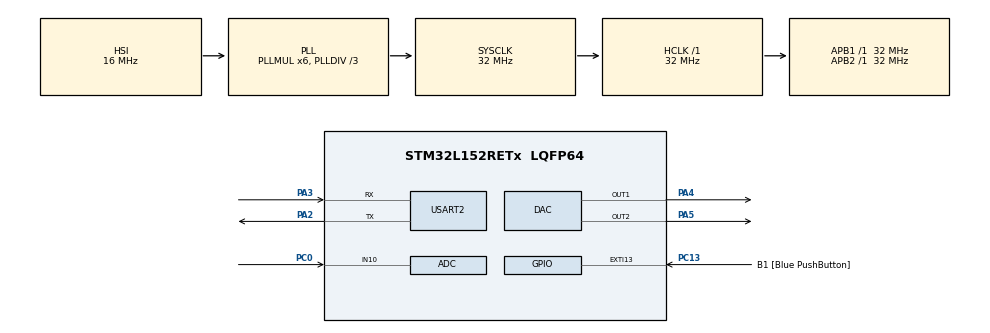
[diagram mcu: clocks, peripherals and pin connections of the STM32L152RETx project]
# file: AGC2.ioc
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ADC.Channel-83\#ChannelRegularConversion=ADC_CHANNEL_10
ADC.NbrOfConversionFlag=1
ADC.Rank-83\#ChannelRegularConversion=1
ADC.SamplingTime-83\#ChannelRegularConversion=ADC_SAMPLETIME_4CYCLES
Mcu.Family=STM32L1
Mcu.Name=STM32L152RETx
Mcu.Package=LQFP64
NVIC.PriorityGroup=NVIC_PRIORITYGROUP_0
PA0-WKUP1.Mode=SYS_WakeUp0
PA0-WKUP1.Signal=SYS_WKUP1
PA13.GPIO_Label=TMS
PA13.Mode=Serial_Wire
PA13.Signal=SYS_JTMS-SWDIO
PA14.GPIO_Label=TCK
PA14.Mode=Serial_Wire
PA14.Signal=SYS_JTCK-SWCLK
PA2.Mode=Asynchronous
PA2.Signal=USART2_TX
PA3.Mode=Asynchronous
PA3.Signal=USART2_RX
PA4.Signal=COMP_DAC1_group
PA5.Signal=COMP_DAC2_group
PB3.GPIO_Label=SWO
PB3.Signal=SYS_JTDO-TRACESWO
PC0.Mode=IN10
PC0.Signal=ADC_IN10
PC13-WKUP2.GPIO_Label=B1 [Blue PushButton]
PC13-WKUP2.Signal=GPXTI13
PC14-OSC32_IN.Signal=RCC_OSC32_IN
PC15-OSC32_OUT.Signal=RCC_OSC32_OUT
PH0-OSC_IN.Signal=RCC_OSC_IN
PH1-OSC_OUT.Signal=RCC_OSC_OUT
ProjectManager.HeapSize=0x200
ProjectManager.StackSize=0x400
ProjectManager.TargetToolchain=MDK-ARM V5
RCC.48MHZClocksFreq_Value=48000000
RCC.AHBFreq_Value=32000000
RCC.APB1Freq_Value=32000000
RCC.APB1TimFreq_Value=32000000
RCC.APB2Freq_Value=32000000
RCC.APB2TimFreq_Value=32000000
RCC.HCLKFreq_Value=32000000
RCC.HSE_VALUE=8000000
RCC.HSI_VALUE=16000000
RCC.LSE_VALUE=32768
RCC.MSI_VALUE=2097000
RCC.PLLDIV=RCC_PLL_DIV3
RCC.PLLMUL=RCC_PLL_MUL6
RCC.RTCClockSelectionVirtual=RCC_RTCCLKSOURCE_LSE
RCC.SYSCLKFreq_VALUE=32000000
RCC.SYSCLKSource=RCC_SYSCLKSOURCE_PLLCLK
RCC.USBOutput=48000000
RCC.VCOOutputFreq_Value=96000000
SH.COMP_DAC1_group.0=DAC_OUT1,DAC_OUT1
SH.COMP_DAC2_group.0=DAC_OUT2,DAC_OUT2
USART2.VirtualMode=VM_ASYNC
VP_TIM11_VS_ClockSourceINT.Mode=Internal
board=NUCLEO-L152RE

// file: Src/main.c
/* USER CODE BEGIN Header */
/**
 ******************************************************************************
 * @file           : main.c
 * @brief          : Main program body
 ******************************************************************************
 */
/* USER CODE END Header */

#include "main.h"
#include "adc.h"
#include "dac.h"
#include "tim.h"
#include "usart.h"
#include "gpio.h"

/* USER CODE BEGIN Includes */
#include "agc.h"
/* USER CODE END Includes */

void SystemClock_Config(void);

int main(void)
{

  /* MCU Configuration--------------------------------------------------------*/

  /* Reset of all peripherals, Initializes the Flash interface and the Systick. */
  HAL_Init();

  /* Configure the system clock */
  SystemClock_Config();

  /* USER CODE BEGIN SysInit */
	__HAL_RCC_DAC_CLK_ENABLE();

  /* USER CODE END SysInit */

  /* Initialize all configured peripherals */
  MX_GPIO_Init();
  MX_DAC_Init();
  MX_ADC_Init();
  MX_USART2_UART_Init();
  MX_TIM11_Init();
  /* USER CODE BEGIN 2 */
	//HAL_DAC_Start(&hdac, DAC_CH_VA);
	//HAL_DAC_Start(&hdac, DAC_CH_VGA);
	//__HAL_RCC_DAC_CLK_ENABLE();
	//HAL_DAC_Init(&hdac);
	//HAL_DAC_ConfigChannel(&hdac, &DAC_ChannelConf, DAC_CH_VA);
	HAL_ADC_Start(&hadc);
	DAC->CR |= DAC_CR_EN1;
	DAC->CR |= DAC_CR_EN2;
	//HAL_UART_Init(&huart2);
	AGC_Init();

  /* USER CODE END 2 */

  /* Infinite loop */
  /* USER CODE BEGIN WHILE */
	//int value = 0;
	while (1) {
    /* USER CODE END WHILE */

    /* USER CODE BEGIN 3 */
		AGC_DoEvent();
		//while(HAL_ADC_PollForConversion(&hadc, 1000) != HAL_OK);

		//HAL_DAC_SetValue(&hdac, DAC_CH_VA, DAC_ALIGN_12B_R, 4000);
		//HAL_DAC_SetValue(&hdac, DAC_CH_VGA, DAC_ALIGN_12B_R, 4000);
		//value += 1000;
		//HAL_Delay(500);
	}
  /* USER CODE END 3 */
}

void SystemClock_Config(void)
{
  RCC_OscInitTypeDef RCC_OscInitStruct = {0};
  RCC_ClkInitTypeDef RCC_ClkInitStruct = {0};

  /** Configure the main internal regulator output voltage
  */
  __HAL_PWR_VOLTAGESCALING_CONFIG(PWR_REGULATOR_VOLTAGE_SCALE1);
  /** Initializes the CPU, AHB and APB busses clocks
  */
  RCC_OscInitStruct.OscillatorType = RCC_OSCILLATORTYPE_HSI;
  RCC_OscInitStruct.HSIState = RCC_HSI_ON;
  RCC_OscInitStruct.HSICalibrationValue = RCC_HSICALIBRATION_DEFAULT;
  RCC_OscInitStruct.PLL.PLLState = RCC_PLL_ON;
  RCC_OscInitStruct.PLL.PLLSource = RCC_PLLSOURCE_HSI;
  RCC_OscInitStruct.PLL.PLLMUL = RCC_PLL_MUL6;
  RCC_OscInitStruct.PLL.PLLDIV = RCC_PLL_DIV3;
  if (HAL_RCC_OscConfig(&RCC_OscInitStruct) != HAL_OK)
  {
    Error_Handler();
  }
  /** Initializes the CPU, AHB and APB busses clocks
  */
  RCC_ClkInitStruct.ClockType = RCC_CLOCKTYPE_HCLK|RCC_CLOCKTYPE_SYSCLK
                              |RCC_CLOCKTYPE_PCLK1|RCC_CLOCKTYPE_PCLK2;
  RCC_ClkInitStruct.SYSCLKSource = RCC_SYSCLKSOURCE_PLLCLK;
  RCC_ClkInitStruct.AHBCLKDivider = RCC_SYSCLK_DIV1;
  RCC_ClkInitStruct.APB1CLKDivider = RCC_HCLK_DIV1;
  RCC_ClkInitStruct.APB2CLKDivider = RCC_HCLK_DIV1;

  if (HAL_RCC_ClockConfig(&RCC_ClkInitStruct, FLASH_LATENCY_1) != HAL_OK)
  {
    Error_Handler();
  }
}

/* USER CODE BEGIN 4 */
void vprint(const char *fmt, va_list argp) {
    char string[400];
    if(0 < vsprintf(string,fmt,argp)) // build string
    {
        HAL_UART_Transmit(&huart2, (uint8_t*)string, strlen(string), 1000); // send message via UART
    }
}

void my_printf(const char *fmt, ...) // custom printf() function
{
    va_list argp;
    va_start(argp, fmt);
    vprint(fmt, argp);
    va_end(argp);
}
/* USER CODE END 4 */

void Error_Handler(void)
{
}

/************************ (C) COPYRIGHT STMicroelectronics *****END OF FILE****/
